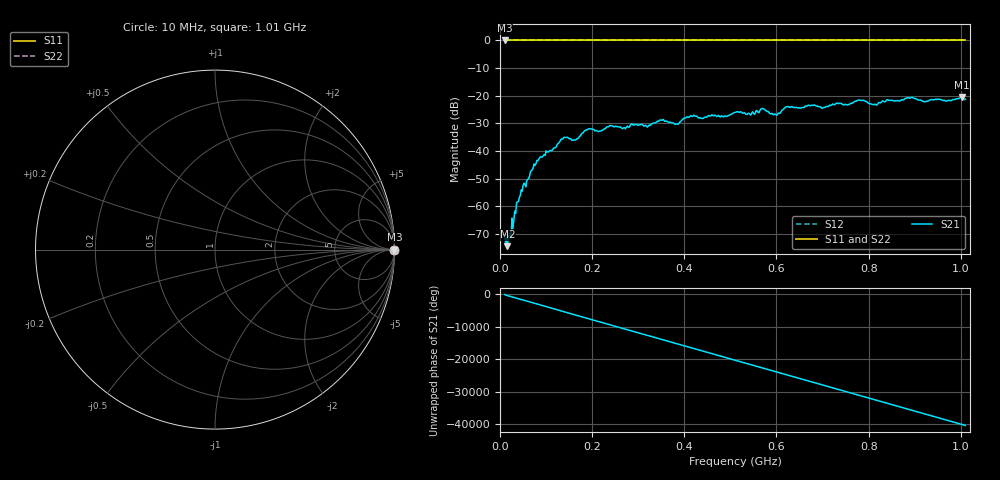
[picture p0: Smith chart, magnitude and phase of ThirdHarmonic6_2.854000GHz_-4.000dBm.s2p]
! 8/17/2025 7:44:20 AM
! C:\ANRITSUVNA\TEMP\TEMP.S2P
! CHANNEL.1
! TR.MEASUREMENT
! RAW.DATA
! RF.CORRECTION.OFF
! AVERAGING.OFF
! IF.BANDWIDTH: 5KHZ
! SWEEPTYPE:  FREQ.SWEEP(Linear)
! Reference Plane Port Info
! PORT:  PORT1  PORT2
! DISTANCE:  0  m  0  m
! TIME:  0  s  0  s
! PHASE.OFFSET:  0  deg.  0  deg.
! LOSS:  0  dB  0  dB
! REF.LOSS:  0  dB  0  dB
! REF.FREQ:  0  Hz  0  Hz
! Power Info
! POWER:  -20  dBm  -20  dBm
! EFF.POWER:  -20  dBm  -20  dBm
! SOURCE.ATTEN:  0  dB  0  dB
! TEST.ATTEN:  0  dB  0  dB
# GHZ S RI R 50.0
! FREQ.GHZ  S11RE  S11IM  S21RE  S21IM  S12RE  S12IM  S22RE  S22IM
!; PortSelection: Port_12
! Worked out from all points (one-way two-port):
!   501 points, 10 MHz to 1.01 GHz, reference 50 ohm
!   highest |S21| = -20.45 dB at 1.002 GHz (marker M1); lowest = -74.4 dB at 16 MHz (marker M2)
!   lowest |S11| = 0.0 dB at 10 MHz (marker M3)
!   |S11| at or under -10 dB: nowhere
!   |S22| runs from 0.0 to 0.0 dB; largest |S21 - S12| = 1.1
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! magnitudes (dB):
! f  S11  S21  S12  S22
! 10 MHz  0.0  -70.8  0.0  0.0
! 16 MHz  0.0  -74.4  0.0  0.0
! 20 MHz  0.0  -70.5  0.0  0.0
! 36 MHz  0.0  -58.7  0.0  0.0
! 48 MHz  0.0  -54.6  0.0  0.0
! 78 MHz  0.0  -44.7  0.0  0.0
! 136 MHz  0.0  -35.7  0.0  0.0
! 162 MHz  0.0  -36.0  0.0  0.0
! 178 MHz  0.0  -33.6  0.0  0.0
! 344 MHz  0.0  -29.3  0.0  0.0
! 384 MHz  0.0  -30.2  0.0  0.0
! 416 MHz  0.0  -27.4  0.0  0.0
! 510 MHz  0.0  -26.1  0.0  0.0
! 570 MHz  0.0  -24.6  0.0  0.0
! 598 MHz  0.0  -26.7  0.0  0.0
! 622 MHz  0.0  -24.0  0.0  0.0
! 678 MHz  0.0  -23.5  0.0  0.0
! 780 MHz  0.0  -21.6  0.0  0.0
! 814 MHz  0.0  -23.0  0.0  0.0
! 844 MHz  0.0  -21.7  0.0  0.0
! 1.002 GHz  0.0  -20.5  0.0  0.0
! 1.01 GHz  0.0  -21.2  0.0  0.0
